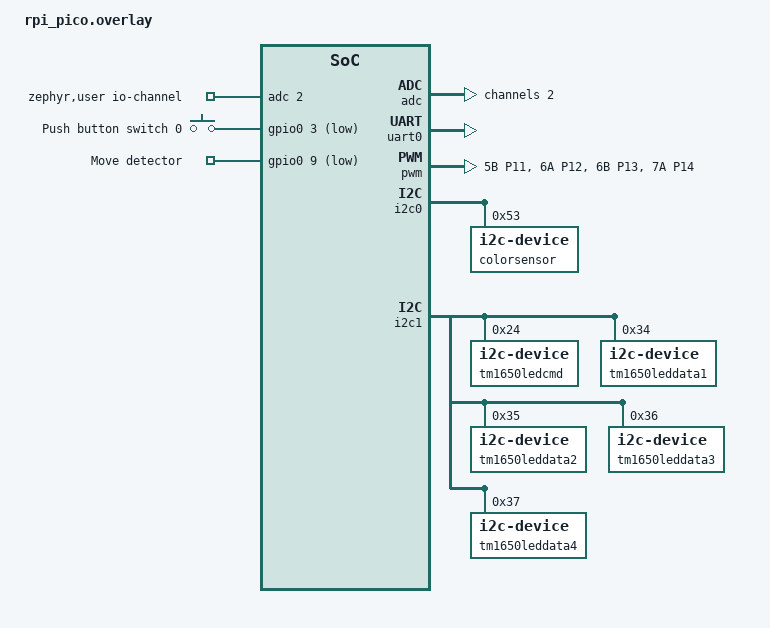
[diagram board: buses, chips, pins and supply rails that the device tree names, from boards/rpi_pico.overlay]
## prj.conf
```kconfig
CONFIG_STDOUT_CONSOLE=y
CONFIG_PRINTK=y
CONFIG_PWM=y
CONFIG_LOG=y
CONFIG_LOG_PRINTK=y
CONFIG_LOG_MODE_IMMEDIATE=y
CONFIG_PWM_LOG_LEVEL_DBG=y
CONFIG_SERIAL=y
CONFIG_CONSOLE=y
CONFIG_UART_CONSOLE=y
CONFIG_UART_LINE_CTRL=y
CONFIG_GPIO=y
CONFIG_I2C=y
CONFIG_ADC=y
```

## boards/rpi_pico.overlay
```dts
/ {
	zephyr,user {
		io-channels = <&adc 2>;
	};
};

&adc {
	#address-cells = <1>;
	#size-cells = <0>;
	channel@2 {
		reg = <2>;
		zephyr,gain = "ADC_GAIN_1";
		zephyr,reference = "ADC_REF_INTERNAL";
		zephyr,acquisition-time = <ADC_ACQ_TIME_DEFAULT>;
		zephyr,resolution = <12>;
	};
};

&uart0 {
    status = "okay";
};

&pwm {
	pinctrl-0 = <&pwm_lego_default>;
	pinctrl-names = "default";
	status = "okay";
	divider-frac-4 = <15>;
	divider-int-4 = <255>;
};

&pwm_leds {
	pwm_led1: pwm_led_1 {
		pwms = <&pwm 12 PWM_MSEC(20) PWM_POLARITY_NORMAL>;
		label = "PWM_LED1";
		status = "okay";
	};
	pwm_led2: pwm_led_2 {
		pwms = <&pwm 13 PWM_MSEC(20) PWM_POLARITY_NORMAL>;
		label = "PWM_LED2";
		status = "okay";
	};
	pwm_led3: pwm_led_3 {
		pwms = <&pwm 14 PWM_MSEC(20) PWM_POLARITY_NORMAL>;
		label = "PWM_LED3";
		status = "okay";
	};
	pwm_sound: pwm_sound_module {
		pwms = <&pwm 11 PWM_MSEC(20) PWM_POLARITY_NORMAL>;
		label = "PWM_SOUND";
		status = "okay";
	};
};

&pinctrl {
	pwm_lego_default: pwm_lego_default {
		group1 {
			pinmux = <PWM_5B_P11 PWM_6A_P12 PWM_6B_P13 PWM_7A_P14>;
		};
	};
};

&i2c0 {
	colorsensor: colorsensor@53{
		compatible = "i2c-device";
		reg = <0x53>;
		label = "colorsensor";
		status = "okay";
	};
};

&i2c1 {
	status = "okay";
	tm1650ledcmd: tm1650ledcmd@24 {
		compatible = "i2c-device";
		reg = <0x24>;
		label = "tm1650ledcmd";
		status = "okay";
	};
	tm1650leddata1: tm1650leddata1@34 {
		compatible = "i2c-device";
		reg = <0x34>;
		label = "tm1650leddata1";
		status = "okay";
	};
	tm1650leddata2: tm1650leddata2@35 {
		compatible = "i2c-device";
		reg = <0x35>;
		label = "tm1650leddata2";
		status = "okay";
	};
	tm1650leddata3: tm1650leddata3@36 {
		compatible = "i2c-device";
		reg = <0x36>;
		label = "tm1650leddata3";
		status = "okay";
	};
	tm1650leddata4: tm1650leddata4@37 {
		compatible = "i2c-device";
		reg = <0x37>;
		label = "tm1650leddata4";
		status = "okay";
	};
};

/{
	buttons {
		compatible = "gpio-keys";
		button0: button_0 {
			label = "Push button switch 0";
			gpios = <&gpio0 3 (GPIO_PULL_UP | GPIO_ACTIVE_LOW)>;
		};
		movedetector1: movedetector_1 {
			label = "Move detector";
			gpios = <&gpio0 9 (GPIO_PULL_UP | GPIO_ACTIVE_LOW)>;
		};
	};

	aliases {
		sw0 = &button0;
		movedetector1 = &movedetector1;
		pwm-led1 = &pwm_led1;
		pwm-led2 = &pwm_led2;
		pwm-led3 = &pwm_led3;
		pwm-sound = &pwm_sound;
	};
};
```

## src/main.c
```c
/*
 * Copyright (c) 2016 Intel Corporation
 * Copyright (c) 2020 Nordic Semiconductor ASA
 *
 * SPDX-License-Identifier: Apache-2.0
 */

/**
 * @file Sample app to demonstrate PWM.
 */

#include <zephyr/kernel.h>
#include <zephyr/sys/printk.h>
#include <zephyr/device.h>
#include <zephyr/drivers/pwm.h>
#include <zephyr/drivers/gpio.h>
#include <zephyr/drivers/i2c.h>
#include <zephyr/drivers/adc.h>


#if !DT_NODE_EXISTS(DT_PATH(zephyr_user)) || \
	!DT_NODE_HAS_PROP(DT_PATH(zephyr_user), io_channels)
#error "No suitable devicetree overlay specified"
#endif

#define DT_SPEC_AND_COMMA(node_id, prop, idx) \
	ADC_DT_SPEC_GET_BY_IDX(node_id, idx),

/* Data of ADC io-channels specified in devicetree. */
static const struct adc_dt_spec adc_channels[] = {
	DT_FOREACH_PROP_ELEM(DT_PATH(zephyr_user), io_channels,
			     DT_SPEC_AND_COMMA)
};


#define SW0_NODE	DT_ALIAS(sw0)
#define MOVEDETECTOR1_NODE	DT_ALIAS(movedetector1)
#define I2C0_NODE DT_NODELABEL(colorsensor)
#define I2C1_NODE_LED_CMD DT_NODELABEL(tm1650ledcmd)
#define I2C1_NODE_LED_DATA1 DT_NODELABEL(tm1650leddata1)
#define I2C1_NODE_LED_DATA2 DT_NODELABEL(tm1650leddata2)
#define I2C1_NODE_LED_DATA3 DT_NODELABEL(tm1650leddata3)
#define I2C1_NODE_LED_DATA4 DT_NODELABEL(tm1650leddata4)

static const struct pwm_dt_spec pwm_led1 = PWM_DT_SPEC_GET(DT_ALIAS(pwm_led1));
static const struct pwm_dt_spec pwm_led2 = PWM_DT_SPEC_GET(DT_ALIAS(pwm_led2));
static const struct pwm_dt_spec pwm_led3 = PWM_DT_SPEC_GET(DT_ALIAS(pwm_led3));
static const struct pwm_dt_spec pwm_sound = PWM_DT_SPEC_GET(DT_ALIAS(pwm_sound));
static const struct gpio_dt_spec button = GPIO_DT_SPEC_GET_OR(SW0_NODE, gpios,
							      {0});
static const struct gpio_dt_spec movedetector1 = GPIO_DT_SPEC_GET_OR(MOVEDETECTOR1_NODE, gpios,
							      {0});
static const struct i2c_dt_spec dev_i2c = I2C_DT_SPEC_GET(I2C0_NODE);
static const struct i2c_dt_spec dev_i2c_led_cmd = I2C_DT_SPEC_GET(I2C1_NODE_LED_CMD);
static const struct i2c_dt_spec dev_i2c_led_data1 = I2C_DT_SPEC_GET(I2C1_NODE_LED_DATA1);
static const struct i2c_dt_spec dev_i2c_led_data2 = I2C_DT_SPEC_GET(I2C1_NODE_LED_DATA2);
static const struct i2c_dt_spec dev_i2c_led_data3 = I2C_DT_SPEC_GET(I2C1_NODE_LED_DATA3);
static const struct i2c_dt_spec dev_i2c_led_data4 = I2C_DT_SPEC_GET(I2C1_NODE_LED_DATA4);

#define MIN_PERIOD PWM_SEC(1U) / 128U
#define MAX_PERIOD PWM_SEC(1U)


//Device Address
//ADDR->Low
#define RGB_2           0x00
#define ADDR            0x53
#define W_ADDR_L        0x66
#define R_ADDR_L        0x67
//ADDR->High
#define RGB_1           0x01
#define W_ADDR_H        0x98
#define R_ADDR_H        0x99

//Register Address
#define ControlReg_Addr 0x00
#define RGBCON_Addr     0x04

#define ID_Addr         0x06

#define CDATAL_Addr     0x12
#define CDATAH_Addr     0x13

#define RDATAL_Addr     0x10
#define RDATAM_Addr     0x11
#define RDATAH_Addr     0x12

#define GDATAL_Addr     0x0D
#define GDATAM_Addr     0x0E
#define GDATAH_Addr     0x0F

#define BDATAL_Addr     0x13
#define BDATAM_Addr     0x14
#define BDATAH_Addr     0x15
/*  Confi Arg  */
//Control Register 
#define RST             0x00

// I2C Address definitions
#define DISPLAY_CMD_ADDR     0x24  // Command address for display control
#define DISPLAY_DATA_ADDR1   0x34  // Data address for digit 1
#define DISPLAY_DATA_ADDR2   0x35  // Data address for digit 2
#define DISPLAY_DATA_ADDR3   0x36  // Data address for digit 3
#define DISPLAY_DATA_ADDR4   0x37  // Data address for digit 4

// Display control commands
#define DISPLAY_ON   0x01
#define DISPLAY_OFF  0x00

// Segment patterns for digits 0-9 and some special characters
const uint8_t digitPatterns[] = {
    0x3F, // 0
    0x06, // 1
    0x5B, // 2
    0x4F, // 3
    0x66, // 4
    0x6D, // 5
    0x7D, // 6
    0x07, // 7
    0x7F, // 8
    0x6F, // 9
    0x77, // A
    0x7C, // b
    0x39, // C
    0x5E, // d
    0x79, // E
    0x71  // F
};

// Function prototypes
void TM1650_init(void);
void TM1650_setBrightness(uint8_t brightness);
void TM1650_displayDigit(uint8_t position, uint8_t digit);
void TM1650_displayTest(void);
void TM1650_writeI2C(uint8_t addr, uint8_t data);

static struct gpio_callback button_cb_data;
static struct gpio_callback movedetector1_cb_data;
uint8_t led_selected = 0;
unsigned int Red = 0;
unsigned int Green  = 0;
unsigned int Blue = 0;
unsigned int val_red = 0;
unsigned int val_green = 0;
unsigned int val_blue = 0;

void RGB_Config(void);
void ReadColor();

void button_pressed(const struct device *dev, struct gpio_callback *cb,
		    uint32_t pins)
{
	printk("Button pressed at %" PRIu32 "\n", k_cycle_get_32());
	led_selected++;
	if(led_selected>2) {
		led_selected = 0;
	}
}

void movedetector1_pressed(const struct device *dev, struct gpio_callback *cb,
		    uint32_t pins)
{
	printk("Movedetector was activated at %" PRIu32 "\n", k_cycle_get_32());
}


int main(void)
{
	uint32_t max_period;
	uint32_t period;
	uint8_t dir = 0U;
	int ret;

	uint32_t count = 0;
	uint16_t buf;
	struct adc_sequence sequence = {
		.buffer = &buf,
		/* buffer size in bytes, not number of samples */
		.buffer_size = sizeof(buf),
	};

	/* Configure channels individually prior to sampling. */
	for (size_t i = 0U; i < ARRAY_SIZE(adc_channels); i++) {
		if (!adc_is_ready_dt(&adc_channels[i])) {
			printk("ADC controller device %s not ready\n", adc_channels[i].dev->name);
			return 0;
		}

		ret = adc_channel_setup_dt(&adc_channels[i]);
		if (ret < 0) {
			printk("Could not setup channel #%d (%d)\n", i, ret);
			return 0;
		}
	}


	printk("PWM-based blinky\n");

	if (!pwm_is_ready_dt(&pwm_led1)) {
		printk("Error: PWM device %s is not ready\n",
		       pwm_led1.dev->name);
		return 0;
	}
	if (!pwm_is_ready_dt(&pwm_led2)) {
		printk("Error: PWM device %s is not ready\n",
		       pwm_led2.dev->name);
		return 0;
	}
	if (!pwm_is_ready_dt(&pwm_led3)) {
		printk("Error: PWM device %s is not ready\n",
		       pwm_led3.dev->name);
		return 0;
	}
	if (!pwm_is_ready_dt(&pwm_sound)) {
		printk("Error: PWM device %s is not ready\n",
		       pwm_sound.dev->name);
		return 0;
	}

	if (!gpio_is_ready_dt(&button)) {
		printk("Error: button device %s is not ready\n",
		       button.port->name);
		return 0;
	}

	if (!gpio_is_ready_dt(&movedetector1)) {
		printk("Error: movedetector device %s is not ready\n",
		       movedetector1.port->name);
		return 0;
	}

	if (!device_is_ready(dev_i2c.bus)) {
		printk("I2C bus %s is not ready!\n\r",dev_i2c.bus->name);
		return;
	}

	if (!device_is_ready(dev_i2c_led_cmd.bus)) {
		printk("I2C bus %s is not ready!\n\r",dev_i2c_led_cmd.bus->name);
		return;
	}

	if (!device_is_ready(dev_i2c_led_data1.bus)) {
		printk("I2C bus %s is not ready!\n\r",dev_i2c_led_data1.bus->name);
		return;
	}

	if (!device_is_ready(dev_i2c_led_data2.bus)) {
		printk("I2C bus %s is not ready!\n\r",dev_i2c_led_data2.bus->name);
		return;
	}

	if (!device_is_ready(dev_i2c_led_data3.bus)) {
		printk("I2C bus %s is not ready!\n\r",dev_i2c_led_data3.bus->name);
		return;
	}

	if (!device_is_ready(dev_i2c_led_data4.bus)) {
		printk("I2C bus %s is not ready!\n\r",dev_i2c_led_data4.bus->name);
		return;
	}
	

	ret = gpio_pin_configure_dt(&button, GPIO_INPUT);
	if (ret != 0) {
		printk("Error %d: failed to configure %s pin %d\n",
		       ret, button.port->name, button.pin);
		return 0;
	}

	ret = gpio_pin_interrupt_configure_dt(&button,
					      GPIO_INT_EDGE_TO_ACTIVE);
	if (ret != 0) {
		printk("Error %d: failed to configure interrupt on %s pin %d\n",
			ret, button.port->name, button.pin);
		return 0;
	}

	gpio_init_callback(&button_cb_data, button_pressed, BIT(button.pin));
	gpio_add_callback(button.port, &button_cb_data);
	printk("Set up button at %s pin %d\n", button.port->name, button.pin);

	ret = gpio_pin_configure_dt(&movedetector1, GPIO_INPUT);
	if (ret != 0) {
		printk("Error %d: failed to configure %s pin %d\n",
		       ret, movedetector1.port->name, movedetector1.pin);
		return 0;
	}

	ret = gpio_pin_interrupt_configure_dt(&movedetector1,
					      GPIO_INT_EDGE_TO_ACTIVE);
	if (ret != 0) {
		printk("Error %d: failed to configure interrupt on %s pin %d\n",
			ret, movedetector1.port->name, movedetector1.pin);
		return 0;
	}

	gpio_init_callback(&movedetector1_cb_data, movedetector1_pressed, BIT(movedetector1.pin));
	gpio_add_callback(movedetector1.port, &movedetector1_cb_data);
	printk("Set up movedetector at %s pin %d\n", movedetector1.port->name, movedetector1.pin);

	RGB_Config();
	TM1650_init();
	/*
	 * In case the default MAX_PERIOD value cannot be set for
	 * some PWM hardware, decrease its value until it can.
	 *
	 * Keep its value at least MIN_PERIOD * 4 to make sure
	 * the sample changes frequency at least once.
	 */
	printk("Calibrating for channel %d...\n", pwm_led1.channel);
	max_period = 3000;
	while (pwm_set_dt(&pwm_led1, max_period, max_period / 2U)) {
		max_period /= 2U;
		if (max_period < (4U * MIN_PERIOD)) {
			printk("Error: PWM device "
			       "does not support a period at least %lu\n",
			       4U * MIN_PERIOD);
			return 0;
		}
	}

	printk("Done calibrating; maximum/minimum periods %u/%lu nsec\n",
	       max_period, MIN_PERIOD);

	printk("Calibrating for channel %d...\n", pwm_sound.channel);
	max_period = MAX_PERIOD;
	while (pwm_set_dt(&pwm_sound, max_period, max_period / 2U)) {
		max_period /= 2U;
		if (max_period < (4U * MIN_PERIOD)) {
			printk("Error: PWM device "
			       "does not support a period at least %lu\n",
			       4U * MIN_PERIOD);
			return 0;
		}
	}


	period = max_period;
	while (1) {
		ret = pwm_set_dt(&pwm_sound, period, period / 8U);
		if(ret) {
			printk("Error %d: failed to set pulse width\n", ret);
			return 0;
		}

		if(led_selected == 0) {
			ret = pwm_set_dt(&pwm_led1, period, period / 2U);
			if (ret) {
				printk("Error %d: failed to set pulse width\n", ret);
				return 0;
			}
			ret = pwm_set_dt(&pwm_led2, period, 0);
			ret = pwm_set_dt(&pwm_led3, period, 0);
			printk("Using period %d\n", period);
		} 
		else if(led_selected == 1) 
		{
			ret = pwm_set_dt(&pwm_led2, period, period / 2U);
			if (ret) {
				printk("Error %d: failed to set pulse width\n", ret);
				return 0;
			}
			ret = pwm_set_dt(&pwm_led1, period, 0);
			ret = pwm_set_dt(&pwm_led3, period, 0);
		}
		else {
			ret = pwm_set_dt(&pwm_led3, period, period / 2U);
			if (ret) {
				printk("Error %d: failed to set pulse width\n", ret);
				return 0;
			}
			ret = pwm_set_dt(&pwm_led1, period, 0);
			ret = pwm_set_dt(&pwm_led2, period, 0);
		}
		period = dir ? (period * 2U) : (period / 2U);
		if (period > max_period) {
			period = max_period / 2U;
			dir = 0U;
		} else if (period < MIN_PERIOD) {
			period = MIN_PERIOD * 2U;
			dir = 1U;
		}

		int val = gpio_pin_get_dt(&button);

		if (val >= 0) {
			//gpio_pin_set_dt(&led, val);
			printk("Button value: %d\n", val);
		}
		ReadColor();
		TM1650_displayTest();

		for (size_t i = 0U; i < ARRAY_SIZE(adc_channels); i++) {
			int32_t val_mv;

			printk("- %s, channel %d: ",
			       adc_channels[i].dev->name,
			       adc_channels[i].channel_id);

			(void)adc_sequence_init_dt(&adc_channels[i], &sequence);

			ret = adc_read_dt(&adc_channels[i], &sequence);
			if (ret < 0) {
				printk("Could not read (%d)\n", ret);
				continue;
			}

			/*
			 * If using differential mode, the 16 bit value
			 * in the ADC sample buffer should be a signed 2's
			 * complement value.
			 */
			if (adc_channels[i].channel_cfg.differential) {
				val_mv = (int32_t)((int16_t)buf);
			} else {
				val_mv = (int32_t)buf;
			}
			printk("%"PRId32, val_mv);
			ret = adc_raw_to_millivolts_dt(&adc_channels[i],
						       &val_mv);
			/* conversion to mV may not be supported, skip if not */
			if (ret < 0) {
				printk(" (value in mV not available)\n");
			} else {
				printk(" = %"PRId32" mV\n", val_mv);
			}
		}
		k_sleep(K_SECONDS(4U));
	}
	return 0;
}

void RGB_Config(void)
{
	int ret;
	uint8_t config[2] = {ControlReg_Addr,0x06};
    
	ret = i2c_write_dt(&dev_i2c, config, sizeof(config));
	if(ret != 0){
		printk("Failed to write to I2C device address %x at reg. %x \n\r", dev_i2c.addr,config[0]);
	}

    config[0] = 0x04;
	config[1] = 0x41;
	ret = i2c_write_dt(&dev_i2c, config, sizeof(config));
	if(ret != 0){
		printk("Failed to write to I2C device address %x at reg. %x \n\r", dev_i2c.addr,config[0]);
	}
    
	config[0] = 0x05;
	config[1] = 0x01;
	ret = i2c_write_dt(&dev_i2c, config, sizeof(config));
	if(ret != 0){
		printk("Failed to write to I2C device address %x at reg. %x \n\r", dev_i2c.addr,config[0]);
	}
}

static uint8_t IIC_ReadReg(uint8_t bReg){
	uint8_t Temp = 0;
	int ret;

	ret = i2c_write_dt(&dev_i2c, &bReg, sizeof(bReg));
	if(ret != 0){
		printk("Failed to write to I2C device address %x at reg.\n\r", dev_i2c.addr);
	}

	ret = i2c_read_dt(&dev_i2c, &Temp, sizeof(Temp));
	if(ret != 0){
		printk("Failed to read from I2C device address %x at Reg.\n\r", dev_i2c.addr);
	}
	return Temp;
}       

static uint32_t IIC_Read2Reg(uint8_t bReg){
	uint32_t Temp;
	uint32_t TempData = 0;
	int ret;

	ret = i2c_write_dt(&dev_i2c, &bReg, sizeof(bReg));
	if(ret != 0){
		printk("Failed to write to I2C device address %x at reg.\n\r", dev_i2c.addr);
	}

	ret = i2c_read_dt(&dev_i2c, &Temp, sizeof(Temp));
	if(ret != 0){
		printk("Failed to read from I2C device address %x at Reg.\n\r", dev_i2c.addr);
	}
	TempData |= Temp;    		
		
					
	ret = i2c_read_dt(&dev_i2c, &Temp, sizeof(Temp));
	if(ret != 0){
		printk("Failed to read from I2C device address %x at Reg.\n\r", dev_i2c.addr);
	} 
	TempData |=(unsigned int)(Temp << 8);      

	return TempData;
} 

void ReadColor()                 //Get color
{
	int ret;
    int index = 0;
    char ColorData[6] = {0};
	uint32_t Temp;

    //Red
	Temp = IIC_Read2Reg(0x10);
	ColorData[index++] = Temp & 0xff;
	ColorData[index++] = (Temp >> 8) & 0xff;
    //Green
    Temp = IIC_Read2Reg(0x0D);
	ColorData[index++] = Temp & 0xff;
	ColorData[index++] = (Temp >> 8) & 0xff;
    //Blue
	Temp = IIC_Read2Reg(0x13);
	ColorData[index++] = Temp & 0xff;
	ColorData[index++] = (Temp >> 8) & 0xff;
	Red = ((unsigned int)(ColorData[1] & 0xff) << 8 | (ColorData[0] & 0xff)); //2.06
	Green = ((unsigned int)(ColorData[3] & 0xff) << 8 | (ColorData[2] & 0xff));
	Blue = ((unsigned int)(ColorData[5] & 0xff) << 8 | (ColorData[4] & 0xff));



	if (Red > 4500) Red = 4500;    
	if (Green > 7600) Green = 7600;
	if (Blue > 4600) Blue = 4600;
	val_red =   Red / 17;
	val_blue = Blue / 18;
	val_green = Green / 29;


	if (val_red > val_green && val_red > val_blue)
	{
		val_red = 255;
		val_green = 0;
		val_blue = 0;
	
	}
	else if (val_green > val_red && val_green > val_blue)
	{

		val_green = 255;
		val_red = 0;
		val_blue = 0;
	
	}
	else if (val_blue > val_red && val_blue >  val_green)
	{
		val_blue = 255;
		val_red = 0;
		val_green = 0;
	}

	printk("R:%d, G:%d, B:%d\n", Red, Green, Blue);  
	printk("val_red:%d, val_green:%d, val_blue:%d\n", val_red, val_green, val_blue);
  //delay(1000);
}


void TM1650_init(void) {
    // Initialize display with maximum brightness
    TM1650_writeI2C(DISPLAY_CMD_ADDR, 0x01 | (7 << 4));  // Display ON, brightness level 7
}

void TM1650_writeI2C(uint8_t addr, uint8_t data) {
	int ret;
	switch (addr) {
		case DISPLAY_CMD_ADDR:
			ret = i2c_write_dt(&dev_i2c_led_cmd, &data, sizeof(data));
			break;
		case DISPLAY_DATA_ADDR1:
			ret = i2c_write_dt(&dev_i2c_led_data1, &data, sizeof(data));
			break;
		case DISPLAY_DATA_ADDR2:
			ret = i2c_write_dt(&dev_i2c_led_data2, &data, sizeof(data));
			break;
		case DISPLAY_DATA_ADDR3:
			ret = i2c_write_dt(&dev_i2c_led_data3, &data, sizeof(data));
			break;
		case DISPLAY_DATA_ADDR4:
			ret = i2c_write_dt(&dev_i2c_led_data4, &data, sizeof(data));
			break;
	}
}

void TM1650_setBrightness(uint8_t brightness) {
    if (brightness > 7) brightness = 7;
    TM1650_writeI2C(DISPLAY_CMD_ADDR, 0x01 | (brightness << 4));
}

void TM1650_displayDigit(uint8_t position, uint8_t digit) {
    uint8_t addr;
    
    // Select address based on position
    switch(position) {
        case 0: addr = DISPLAY_DATA_ADDR1; break;
        case 1: addr = DISPLAY_DATA_ADDR2; break;
        case 2: addr = DISPLAY_DATA_ADDR3; break;
        case 3: addr = DISPLAY_DATA_ADDR4; break;
        default: return; // Invalid position
    }
    
    if(digit > 15) digit = 0; // Limit to valid range (0-F)
    TM1650_writeI2C(addr, digitPatterns[digit]);
}

void TM1650_displayTest(void) {
    uint8_t i, j;
    
    // Test 1: Count from 0-F on all digits
    for(i = 0; i <= 15; i++) {
        for(j = 0; j < 4; j++) {
            TM1650_displayDigit(j, i);
        }
        k_sleep(K_MSEC(500)); // Delay 500ms between numbers
    }
    
    // Test 2: Rolling pattern
    for(i = 0; i < 4; i++) {
        TM1650_writeI2C(DISPLAY_DATA_ADDR1 + i, 0x00);  // Clear all
    }
    
    for(i = 0; i < 4; i++) {
        for(j = 0; j < 7; j++) {
            TM1650_writeI2C(DISPLAY_DATA_ADDR1 + i, (1 << j));
            k_sleep(K_MSEC(100));
        }
    }
    
    // Test 3: Brightness levels
    for(i = 0; i < 4; i++) {
        TM1650_displayDigit(i, 8);  // Display "8" on all digits
    }
    
    for(i = 0; i <= 7; i++) {
        TM1650_setBrightness(i);
        k_sleep(K_MSEC(500));
    }
}
```
